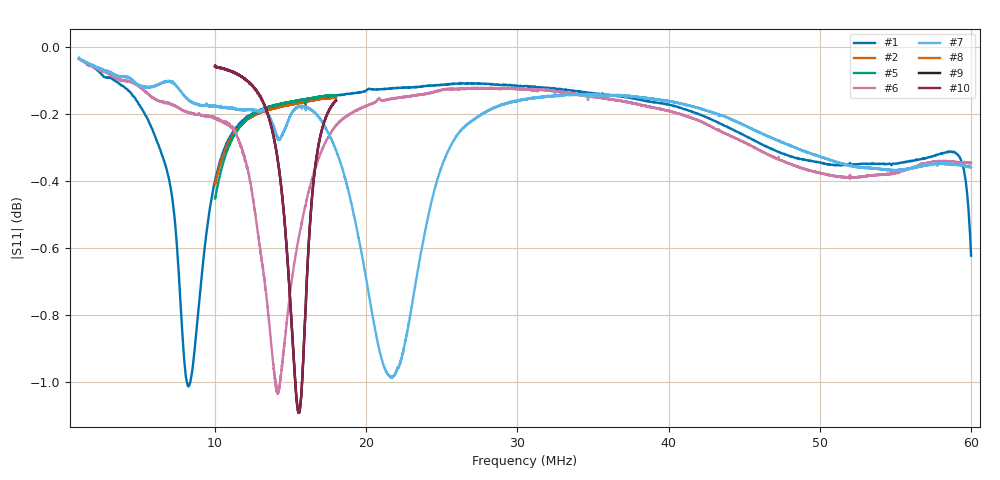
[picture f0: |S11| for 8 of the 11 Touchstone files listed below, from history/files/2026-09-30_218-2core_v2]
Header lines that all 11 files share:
! NanoVNA Web complex sweep
! Processing: unaveraged complex samples; linear segment spacing; no smoothing
# Hz S RI R 50
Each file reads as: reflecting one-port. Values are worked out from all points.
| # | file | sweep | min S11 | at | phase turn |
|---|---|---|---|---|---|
| 1 | 2026-09-30_CAPFREE_218_CD_1-60M_nanovna-sweep-1790787282764.s1p | 1 MHz to 60 MHz | -1.0 dB | 8.251 MHz | -782 deg |
| 2 | 2026-09-30_CAPFREE_218_CD_10-18M_s1_nanovna-sweep-1790787220452.s1p | 10 MHz to 18 MHz | -0.4 dB | 10 MHz | -116 deg |
| 3 | 2026-09-30_CAPFREE_218_CD_10-18M_s2_nanovna-sweep-1790787254205.s1p | 10 MHz to 18 MHz | -0.4 dB | 10 MHz | -116 deg |
| 4 | 2026-09-30_CAPFREE_218_CD_10-18M_s3_nanovna-sweep-1790787261633.s1p | 10 MHz to 18 MHz | -0.4 dB | 10 MHz | -116 deg |
| 5 | 2026-09-30_CAPFREE_218_CD_nocube_10-18M_nanovna-sweep-1790787307821.s1p | 10 MHz to 18 MHz | -0.5 dB | 10 MHz | -129 deg |
| 6 | 2026-09-30_CAPFREE_218_CD_secleads-OFF-electrodes_1-60M_nanovna-sweep-1790798757899.s1p | 1 MHz to 60 MHz | -1.0 dB | 14.14 MHz | -777 deg |
| 7 | 2026-09-30_CAPFREE_218_CD_secleads-REMOVED_1-60M_nanovna-sweep-1790798832841.s1p | 1 MHz to 60 MHz | -1.0 dB | 21.63 MHz | -775 deg |
| 8 | 2026-09-30_NET_218_CD_100s_200p_10-18M_s1_FAN-ON_nanovna-sweep-1790789305883.s1p | 10 MHz to 18 MHz | -1.1 dB | 15.54 MHz | -375 deg |
| 9 | 2026-09-30_NET_218_CD_100s_200p_10-18M_s1_nanovna-sweep-1790788917191.s1p | 10 MHz to 18 MHz | -1.1 dB | 15.55 MHz | -376 deg |
| 10 | 2026-09-30_NET_218_CD_100s_200p_10-18M_s2_nanovna-sweep-1790788925278.s1p | 10 MHz to 18 MHz | -1.1 dB | 15.54 MHz | -376 deg |
| 11 | 2026-09-30_NET_218_CD_100s_200p_10-18M_s3_nanovna-sweep-1790788939992.s1p | 10 MHz to 18 MHz | -1.1 dB | 15.54 MHz | -376 deg |
